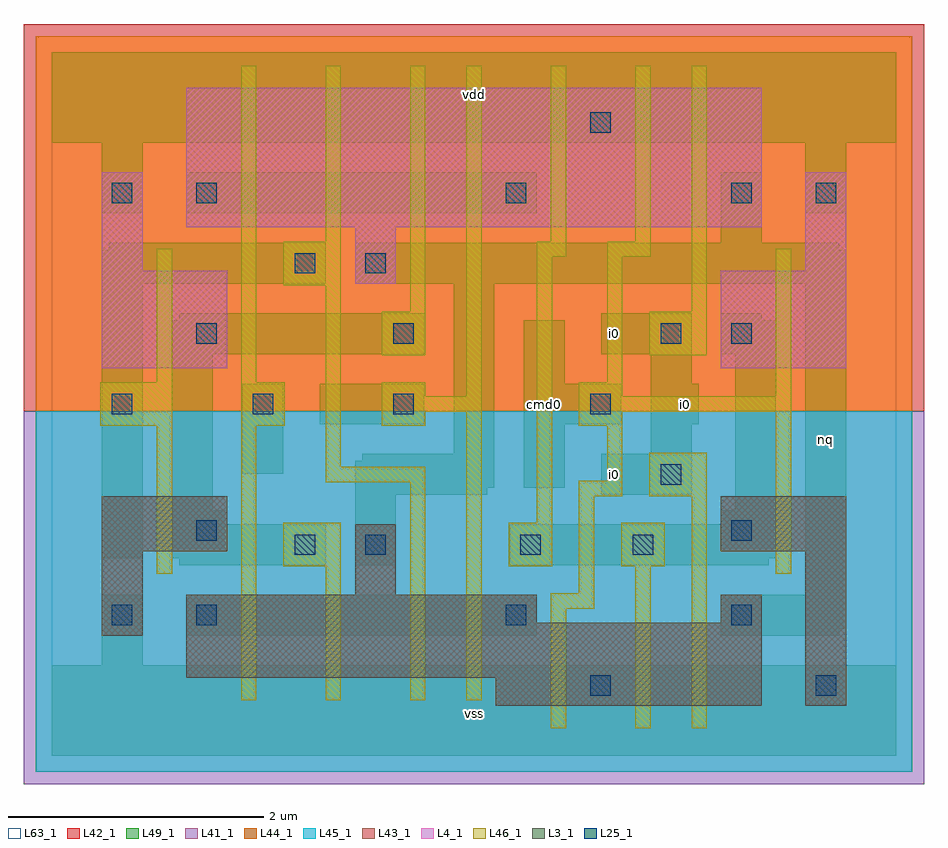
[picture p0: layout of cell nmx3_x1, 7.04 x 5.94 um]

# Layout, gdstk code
import gdstk
lib = gdstk.Library(unit=1e-6, precision=1e-09)
def R(c, l, rs):  # rectangles x0, y0, x1, y1
    for r in rs: c.add(gdstk.rectangle(r[:2], r[2:], *l))
def A(c, l, x, y, w, h, nx, ny, dx, dy):  # array of equal rectangles
    R(c, l, [(x+i*dx, y+j*dy, x+i*dx+w, y+j*dy+h) for i in range(nx) for j in range(ny)])
L3_1 = (3, 1)
L4_1 = (4, 1)
L25_1 = (25, 1)
L41_1 = (41, 1)
L42_1 = (42, 1)
L43_1 = (43, 1)
L44_1 = (44, 1)
L45_1 = (45, 1)
L46_1 = (46, 1)
L49_1 = (49, 1)
L63_1 = (63, 1)

nmx3_x1 = lib.new_cell('nmx3_x1')
R(nmx3_x1, L3_1, [(3.47,0.39,5.55,0.61), (5.89,0.39,6.21,1.6), (1.05,0.61,5.55,1.04), (0.39,0.94,0.71,1.6), (1.05,1.04,3.79,1.26), (5.23,1.04,5.55,1.26), (2.37,1.26,2.69,1.81), (0.39,1.6,1.37,2.03), (5.23,1.6,6.21,2.03)])
R(nmx3_x1, L4_1, [(0.39,3.03,1.37,3.79), (5.23,3.03,6.21,3.79), (2.37,3.69,2.69,4.13), (0.39,3.79,0.71,4.56), (5.89,3.79,6.21,4.56), (1.05,4.13,5.55,5.22)])
A(nmx3_x1, L25_1, 4.21, 0.47, 0.16, 0.16, 1, 3, 0, 2.2)
A(nmx3_x1, L25_1, 0.47, 2.67, 0.16, 0.16, 3, 1, 1.1, 0)
R(nmx3_x1, L25_1, [(5.97,0.47,6.13,0.63), (0.47,1.02,0.63,1.18), (1.13,1.02,1.29,1.18), (3.55,1.02,3.71,1.18), (5.31,1.02,5.47,1.18), (1.9,1.57,2.06,1.73), (2.45,1.57,2.61,1.73), (3.66,1.57,3.82,1.73), (4.54,1.57,4.7,1.73), (1.13,1.68,1.29,1.84), (5.31,1.68,5.47,1.84), (4.76,2.12,4.92,2.28), (1.13,3.22,1.29,3.38), (2.67,3.22,2.83,3.38), (4.76,3.22,4.92,3.38), (5.31,3.22,5.47,3.38), (1.9,3.77,2.06,3.93), (2.45,3.77,2.61,3.93), (0.47,4.32,0.63,4.48), (1.13,4.32,1.29,4.48), (3.55,4.32,3.71,4.48), (5.31,4.32,5.47,4.48), (5.97,4.32,6.13,4.48)])
R(nmx3_x1, L41_1, [(-0.22,-0.22,6.82,2.695)])
R(nmx3_x1, L42_1, [(-0.22,2.695,6.82,5.72)])
R(nmx3_x1, L43_1, [(3.47,0.39,5.55,0.61), (5.89,0.39,6.21,1.6), (1.05,0.61,5.55,1.04), (0.39,0.94,0.71,1.6), (1.05,1.04,3.79,1.26), (5.23,1.04,5.55,1.26), (2.37,1.26,2.69,1.81), (0.39,1.6,1.37,2.03), (5.23,1.6,6.21,2.03), (0.39,3.03,1.37,3.79), (5.23,3.03,6.21,3.79), (2.37,3.69,2.69,4.13), (0.39,3.79,0.71,4.56), (5.89,3.79,6.21,4.56), (1.05,4.13,5.55,5.22)])
R(nmx3_x1, L44_1, [(-0.125,2.695,6.725,5.625)])
R(nmx3_x1, L45_1, [(-0.125,-0.125,6.725,2.695)])
R(nmx3_x1, L46_1, [(3.9,0.215,4.02,1.15), (4.56,0.215,4.68,1.48), (5,0.215,5.12,2.03), (1.48,0.435,1.6,2.58), (2.14,0.435,2.26,1.48), (2.8,0.435,2.92,2.14), (3.24,0.435,3.36,2.69), (3.9,1.15,4.24,1.27), (4.12,1.27,4.24,2.03), (0.82,1.425,0.94,2.58), (5.66,1.425,5.78,2.69), (1.81,1.48,2.26,1.82), (3.57,1.48,3.91,1.82), (4.45,1.48,4.79,1.82), (3.79,1.82,3.91,3.9), (4.12,2.03,4.46,2.15), (4.67,2.03,5.12,2.37), (2.14,2.14,2.92,2.26), (4.34,2.15,4.46,2.58), (2.14,2.26,2.26,3.68), (0.38,2.58,0.94,2.92), (1.48,2.58,1.82,2.92), (2.58,2.58,2.92,2.69), (4.12,2.58,4.46,2.69), (2.58,2.69,3.36,2.81), (4.12,2.69,5.78,2.81), (2.58,2.81,2.92,2.92), (3.24,2.81,3.36,5.395), (4.12,2.81,4.46,2.92), (5.66,2.81,5.78,3.965), (0.82,2.92,0.94,3.965), (1.48,2.92,1.6,5.395), (4.34,2.92,4.46,3.9), (2.58,3.13,2.92,3.47), (4.67,3.13,5.12,3.47), (2.8,3.47,2.92,5.395), (5,3.47,5.12,5.395), (1.81,3.68,2.26,4.02), (3.79,3.9,4.02,4.02), (4.34,3.9,4.68,4.02), (2.14,4.02,2.26,5.395), (3.9,4.02,4.02,5.395), (4.56,4.02,4.68,5.395)])
R(nmx3_x1, L49_1, [(0,0,6.6,0.71), (0.39,0.71,0.71,1.26), (1.05,0.94,3.79,1.26), (5.23,0.94,6.155,0.995), (5.23,0.995,6.21,1.26), (5.89,1.26,6.21,3.69), (0.995,1.49,2.14,1.545), (2.37,1.49,2.69,2.04), (3.58,1.49,5.605,1.545), (0.39,1.545,0.71,3.69), (0.94,1.545,2.14,1.81), (3.58,1.545,5.66,1.81), (0.94,1.81,1.37,1.92), (5.23,1.81,5.66,1.92), (0.94,1.92,1.26,3.14), (5.34,1.92,5.66,3.14), (2.37,2.04,3.405,2.095), (4.295,2.04,5,2.36), (2.37,2.095,3.46,2.305), (3.69,2.095,4.01,2.59), (1.49,2.205,1.81,2.91), (2.425,2.305,3.46,2.36), (3.14,2.36,3.46,3.69), (4.68,2.36,5,2.59), (2.095,2.59,2.91,2.91), (3.69,2.59,4.45,2.91), (4.68,2.59,5.055,2.91), (3.69,2.91,4.01,3.405), (4.68,2.91,5,3.14), (0.94,3.14,2.91,3.405), (4.295,3.14,5,3.46), (5.23,3.14,5.66,3.405), (0.995,3.405,2.91,3.46), (5.23,3.405,5.55,3.46), (0.39,3.69,2.14,3.955), (2.37,3.69,6.21,3.955), (0.445,3.955,2.14,4.01), (2.37,3.955,6.155,4.01), (5.23,4.01,5.55,4.56), (0.39,4.24,0.71,4.79), (1.05,4.24,3.79,4.56), (5.89,4.24,6.21,4.79), (0,4.79,6.6,5.5)])
R(nmx3_x1, L63_1, [(0,0,6.6,5.5)])
nmx3_x1.add(gdstk.Label('vss', (3.3,0.33), layer=49, texttype=1))
nmx3_x1.add(gdstk.Label('vss', (3.3,0.33), layer=49, texttype=1))
nmx3_x1.add(gdstk.Label('cmd0', (3.85,2.75), layer=49, texttype=1))
nmx3_x1.add(gdstk.Label('cmd0', (3.85,2.75), layer=49, texttype=1))
nmx3_x1.add(gdstk.Label('vdd', (3.3,5.17), layer=49, texttype=1))
nmx3_x1.add(gdstk.Label('vdd', (3.3,5.17), layer=49, texttype=1))
nmx3_x1.add(gdstk.Label('i0', (4.4,2.2), layer=49, texttype=1))
nmx3_x1.add(gdstk.Label('i0', (4.4,2.2), layer=49, texttype=1))
nmx3_x1.add(gdstk.Label('i0', (4.95,2.75), layer=49, texttype=1))
nmx3_x1.add(gdstk.Label('i0', (4.95,2.75), layer=49, texttype=1))
nmx3_x1.add(gdstk.Label('i0', (4.4,3.3), layer=49, texttype=1))
nmx3_x1.add(gdstk.Label('i0', (4.4,3.3), layer=49, texttype=1))
nmx3_x1.add(gdstk.Label('nq', (6.05,2.475), layer=49, texttype=1))
nmx3_x1.add(gdstk.Label('nq', (6.05,2.475), layer=49, texttype=1))

lib.write_gds('nmx3_x1.gds')
